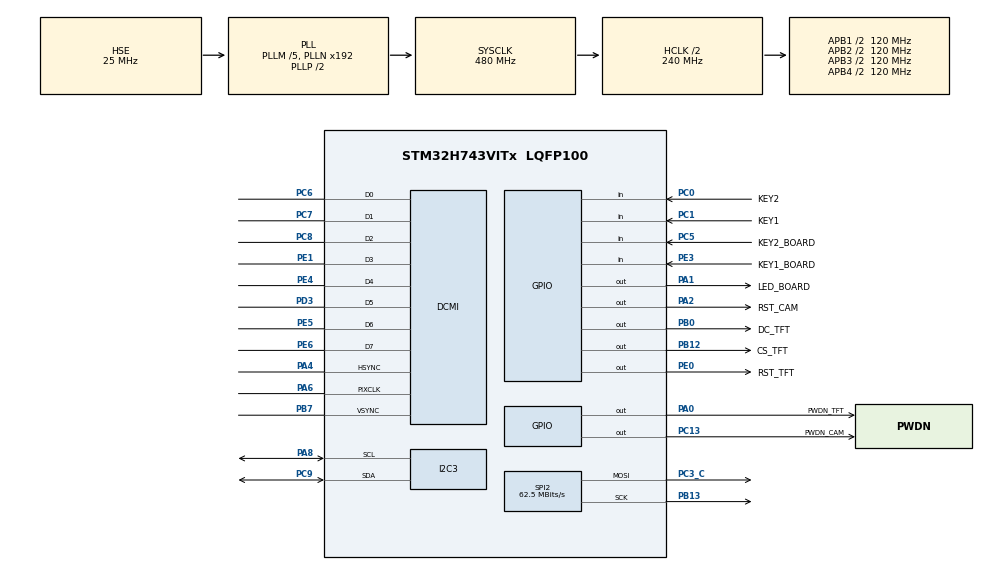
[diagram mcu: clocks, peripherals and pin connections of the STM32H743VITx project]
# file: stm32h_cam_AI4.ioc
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CORTEX_M7.CPU_DCache=Enabled
CORTEX_M7.CPU_ICache=Enabled
DCMI.JPEGMode=DCMI_JPEG_DISABLE
DCMI.PCKPolarity=DCMI_PCKPOLARITY_RISING
Dma.DCMI.1.Direction=DMA_PERIPH_TO_MEMORY
Dma.DCMI.1.EventEnable=DISABLE
Dma.DCMI.1.FIFOMode=DMA_FIFOMODE_ENABLE
Dma.DCMI.1.FIFOThreshold=DMA_FIFO_THRESHOLD_FULL
Dma.DCMI.1.Instance=DMA2_Stream1
Dma.DCMI.1.MemBurst=DMA_MBURST_SINGLE
Dma.DCMI.1.MemDataAlignment=DMA_MDATAALIGN_BYTE
Dma.DCMI.1.MemInc=DMA_MINC_ENABLE
Dma.DCMI.1.Mode=DMA_CIRCULAR
Dma.DCMI.1.PeriphBurst=DMA_PBURST_SINGLE
Dma.DCMI.1.PeriphDataAlignment=DMA_PDATAALIGN_WORD
Dma.DCMI.1.PeriphInc=DMA_PINC_DISABLE
Dma.DCMI.1.Polarity=HAL_DMAMUX_REQ_GEN_RISING
Dma.DCMI.1.Priority=DMA_PRIORITY_VERY_HIGH
Dma.DCMI.1.RequestNumber=1
Dma.DCMI.1.SignalID=NONE
Dma.DCMI.1.SyncEnable=DISABLE
Dma.DCMI.1.SyncPolarity=HAL_DMAMUX_SYNC_NO_EVENT
Dma.DCMI.1.SyncRequestNumber=1
Dma.DCMI.1.SyncSignalID=NONE
Dma.Request0=SPI2_TX
Dma.Request1=DCMI
Dma.SPI2_TX.0.Direction=DMA_MEMORY_TO_PERIPH
Dma.SPI2_TX.0.EventEnable=DISABLE
Dma.SPI2_TX.0.FIFOMode=DMA_FIFOMODE_DISABLE
Dma.SPI2_TX.0.Instance=DMA1_Stream7
Dma.SPI2_TX.0.MemDataAlignment=DMA_MDATAALIGN_BYTE
Dma.SPI2_TX.0.MemInc=DMA_MINC_ENABLE
Dma.SPI2_TX.0.Mode=DMA_NORMAL
Dma.SPI2_TX.0.PeriphDataAlignment=DMA_PDATAALIGN_BYTE
Dma.SPI2_TX.0.PeriphInc=DMA_PINC_DISABLE
Dma.SPI2_TX.0.Polarity=HAL_DMAMUX_REQ_GEN_RISING
Dma.SPI2_TX.0.Priority=DMA_PRIORITY_HIGH
Dma.SPI2_TX.0.RequestNumber=1
Dma.SPI2_TX.0.SignalID=NONE
Dma.SPI2_TX.0.SyncEnable=DISABLE
Dma.SPI2_TX.0.SyncPolarity=HAL_DMAMUX_SYNC_NO_EVENT
Dma.SPI2_TX.0.SyncRequestNumber=1
Dma.SPI2_TX.0.SyncSignalID=NONE
I2C3.Analog_Filter=I2C_ANALOGFILTER_ENABLE
I2C3.I2C_Coeff_DF=0
I2C3.I2C_Fall_Time=300
I2C3.I2C_Rise_Time=300
I2C3.Timing=0x70843A4F
Mcu.Family=STM32H7
Mcu.Name=STM32H743VITx
Mcu.Package=LQFP100
NVIC.DMA1_Stream7_IRQn=true\:0\:0\:false\:false\:true\:false\:true\:true
NVIC.DMA2_Stream1_IRQn=true\:0\:0\:false\:false\:true\:false\:true\:true
NVIC.PriorityGroup=NVIC_PRIORITYGROUP_4
NVIC.SPI2_IRQn=true\:0\:0\:false\:false\:true\:false\:true\:true
PA0.GPIO_Label=PWDN_TFT
PA0.GPIO_ModeDefaultOutputPP=GPIO_MODE_OUTPUT_OD
PA0.GPIO_PuPd=GPIO_PULLUP
PA0.PinState=GPIO_PIN_SET
PA0.Signal=GPIO_Output
PA1.GPIO_Label=LED_BOARD
PA1.Signal=GPIO_Output
PA13\ (JTMS/SWDIO).Mode=Serial_Wire
PA13\ (JTMS/SWDIO).Signal=DEBUG_JTMS-SWDIO
PA14\ (JTCK/SWCLK).Mode=Serial_Wire
PA14\ (JTCK/SWCLK).Signal=DEBUG_JTCK-SWCLK
PA2.GPIO_Label=RST_CAM
PA2.Signal=GPIO_Output
PA4.Mode=Slave_8_bits_External_Synchro
PA4.Signal=DCMI_HSYNC
PA6.Mode=Slave_8_bits_External_Synchro
PA6.Signal=DCMI_PIXCLK
PA8.Mode=I2C
PA8.Signal=I2C3_SCL
PB0.GPIO_Label=DC_TFT
PB0.GPIO_PuPd=GPIO_PULLUP
PB0.PinState=GPIO_PIN_SET
PB0.Signal=GPIO_Output
PB12.GPIO_Label=CS_TFT
PB12.GPIO_PuPd=GPIO_PULLUP
PB12.PinState=GPIO_PIN_SET
PB12.Signal=GPIO_Output
PB13.GPIO_Speed=GPIO_SPEED_FREQ_VERY_HIGH
PB13.Mode=TX_Only_Simplex_Unidirect_Master
PB13.Signal=SPI2_SCK
PB6.Signal=QUADSPI_BK1_NCS
PB7.Mode=Slave_8_bits_External_Synchro
PB7.Signal=DCMI_VSYNC
PC0.GPIO_Label=KEY2
PC0.Signal=GPIO_Input
PC1.GPIO_Label=KEY1
PC1.Signal=GPIO_Input
PC13.GPIO_Label=PWDN_CAM
PC13.PinState=GPIO_PIN_SET
PC13.Signal=GPIO_Output
PC14-OSC32_IN\ (OSC32_IN).Mode=LSE-External-Oscillator
PC14-OSC32_IN\ (OSC32_IN).Signal=RCC_OSC32_IN
PC15-OSC32_OUT\ (OSC32_OUT).Mode=LSE-External-Oscillator
PC15-OSC32_OUT\ (OSC32_OUT).Signal=RCC_OSC32_OUT
PC3_C.GPIO_Speed=GPIO_SPEED_FREQ_VERY_HIGH
PC3_C.Mode=TX_Only_Simplex_Unidirect_Master
PC3_C.Signal=SPI2_MOSI
PC5.GPIO_Label=KEY2_BOARD
PC5.Signal=GPIO_Input
PC6.Mode=Slave_8_bits_External_Synchro
PC6.Signal=DCMI_D0
PC7.Mode=Slave_8_bits_External_Synchro
PC7.Signal=DCMI_D1
PC8.Mode=Slave_8_bits_External_Synchro
PC8.Signal=DCMI_D2
PC9.Mode=I2C
PC9.Signal=I2C3_SDA
PD13.Signal=QUADSPI_BK1_IO3
PD3.Mode=Slave_8_bits_External_Synchro
PD3.Signal=DCMI_D5
PE0.GPIO_Label=RST_TFT
PE0.GPIO_PuPd=GPIO_PULLUP
PE0.PinState=GPIO_PIN_SET
PE0.Signal=GPIO_Output
PE1.Mode=Slave_8_bits_External_Synchro
PE1.Signal=DCMI_D3
PE3.GPIO_Label=KEY1_BOARD
PE3.Signal=GPIO_Input
PE4.Mode=Slave_8_bits_External_Synchro
PE4.Signal=DCMI_D4
PE5.Mode=Slave_8_bits_External_Synchro
PE5.Signal=DCMI_D6
PE6.Mode=Slave_8_bits_External_Synchro
PE6.Signal=DCMI_D7
PH0-OSC_IN\ (PH0).Mode=HSE-External-Oscillator
PH0-OSC_IN\ (PH0).Signal=RCC_OSC_IN
PH1-OSC_OUT\ (PH1).Mode=HSE-External-Oscillator
PH1-OSC_OUT\ (PH1).Signal=RCC_OSC_OUT
ProjectManager.HeapSize=0x800
ProjectManager.StackSize=0x1000
ProjectManager.TargetToolchain=STM32CubeIDE
RCC.ADCFreq_Value=125000000
RCC.APB1CLKDivider=RCC_HCLK_DIV4
RCC.APB1Freq_Value=120000000
RCC.APB2CLKDivider=RCC_HCLK_DIV2
RCC.APB2Freq_Value=120000000
RCC.APB3Freq_Value=120000000
RCC.APB4Freq_Value=120000000
RCC.CortexFreq_Value=480000000
RCC.D1PPRE=RCC_APB3_DIV2
RCC.D2PPRE1=RCC_APB1_DIV2
RCC.D2PPRE2=RCC_APB2_DIV2
RCC.D3PPRE=RCC_APB4_DIV2
RCC.DIVM1=5
RCC.DIVM2=4
RCC.DIVN1=192
RCC.DIVN2=100
RCC.DIVN3=480
RCC.DIVP2=5
RCC.DIVQ1=20
RCC.DIVQ3=8
RCC.FLatency=FLASH_LATENCY_4
RCC.HCLKFreq_Value=240000000
RCC.HPRE=RCC_HCLK_DIV2
RCC.HSE_VALUE=25000000
RCC.PLLFRACN=0
RCC.PLLM=25
RCC.PLLMUL=RCC_PLL_MUL9
RCC.PLLN=432
RCC.PLLQ=9
RCC.PLLSourceVirtual=RCC_PLLSOURCE_HSE
RCC.PRESCALERUSB=RCC_USBCLKSOURCE_PLL_DIV1_5
RCC.PWR_Regulator_Voltage_Scale=PWR_REGULATOR_VOLTAGE_SCALE0
RCC.ProductRev=revV
RCC.RTCClockSelection=RCC_RTCCLKSOURCE_LSE
RCC.SPI123CLockSelection=RCC_SPI123CLKSOURCE_PLL2
RCC.SYSCLKFreq_VALUE=480000000
RCC.SYSCLKSource=RCC_SYSCLKSOURCE_PLLCLK
RCC.SYSCLKSourceVirtual=RCC_SYSCLKSOURCE_PLLCLK
RCC.USBFreq_Value=48000000
SPI2.BaudRatePrescaler=SPI_BAUDRATEPRESCALER_2
SPI2.CalculateBaudRate=62.5 MBits/s
SPI2.DataSize=SPI_DATASIZE_8BIT
SPI2.Direction=SPI_DIRECTION_2LINES_TXONLY
SPI2.Mode=SPI_MODE_MASTER
SPI2.NSSPMode=SPI_NSS_PULSE_ENABLE
SPI2.VirtualType=VM_MASTER
STMicroelectronics.X-CUBE-AI.8.0.0.ActivationBufferSizeList=97516
STMicroelectronics.X-CUBE-AI.8.0.0.ActivationBuffers=pool0
STMicroelectronics.X-CUBE-AI.8.0.0.ActivationNames=pool0
STMicroelectronics.X-CUBE-AI.8.0.0.ActivationSizes=AI_NETWORK_DATA_ACTIVATION_1_SIZE
STMicroelectronics.X-CUBE-AI.8.0.0.ApplicationCcDeviceJjApplication=ApplicationTemplate
STMicroelectronics.X-CUBE-AI.8.0.0.HeapSize=0x800
STMicroelectronics.X-CUBE-AI.8.0.0.InternalRamActivationBufferMaxSize=AI_NETWORK_DATA_ACTIVATIONS_SIZE
STMicroelectronics.X-CUBE-AI.8.0.0.LatestDirectoryUsed-ed3556cf830fff80c20b2bba17ff285a2079428e074ef5eb4c2b63263d183088=/home/pavel/STM32CubeIDE/workspace_1.3.0/stm32h_cam_AI4/model
STMicroelectronics.X-CUBE-AI.8.0.0.MaximumNumberOfInputLayer=1
STMicroelectronics.X-CUBE-AI.8.0.0.MaximumNumberOfOutputLayer=1
STMicroelectronics.X-CUBE-AI.8.0.0.MaximumSizeOfInputLayer=1
STMicroelectronics.X-CUBE-AI.8.0.0.MaximumSizeOfOutputLayer=1
STMicroelectronics.X-CUBE-AI.8.0.0.ModelActualCompression-ed3556cf830fff80c20b2bba17ff285a2079428e074ef5eb4c2b63263d183088=0.0
STMicroelectronics.X-CUBE-AI.8.0.0.ModelCompression-ed3556cf830fff80c20b2bba17ff285a2079428e074ef5eb4c2b63263d183088=None
STMicroelectronics.X-CUBE-AI.8.0.0.ModelFlashOccupation-ed3556cf830fff80c20b2bba17ff285a2079428e074ef5eb4c2b63263d183088=1341276
STMicroelectronics.X-CUBE-AI.8.0.0.ModelHashList=ed3556cf830fff80c20b2bba17ff285a2079428e074ef5eb4c2b63263d183088
STMicroelectronics.X-CUBE-AI.8.0.0.ModelKind-ed3556cf830fff80c20b2bba17ff285a2079428e074ef5eb4c2b63263d183088=KERAS
STMicroelectronics.X-CUBE-AI.8.0.0.ModelMacc-ed3556cf830fff80c20b2bba17ff285a2079428e074ef5eb4c2b63263d183088=10044256
STMicroelectronics.X-CUBE-AI.8.0.0.ModelName-ed3556cf830fff80c20b2bba17ff285a2079428e074ef5eb4c2b63263d183088=network
STMicroelectronics.X-CUBE-AI.8.0.0.ModelNameList=network
STMicroelectronics.X-CUBE-AI.8.0.0.ModelRamOccupation-ed3556cf830fff80c20b2bba17ff285a2079428e074ef5eb4c2b63263d183088=97516
STMicroelectronics.X-CUBE-AI.8.0.0.ModelStructureFile-ed3556cf830fff80c20b2bba17ff285a2079428e074ef5eb4c2b63263d183088=model/MNIST_keras_CNN.h5
STMicroelectronics.X-CUBE-AI.8.0.0.ModelType-ed3556cf830fff80c20b2bba17ff285a2079428e074ef5eb4c2b63263d183088=Saved model
STMicroelectronics.X-CUBE-AI.8.0.0.ReadyForCodeGeneration=true
STMicroelectronics.X-CUBE-AI.8.0.0.StackSize=0x1000
STMicroelectronics.X-CUBE-AI.8.0.0.WorkingBufferStartAddrList=0xFFFFFFFF
STMicroelectronics.X-CUBE-AI.8.0.0.XAaCUBEAaAICcArtificialOoIntelligenceJjCore=true
STMicroelectronics.X-CUBE-AI.8.0.0.copyWeightToRam=false
STMicroelectronics.X-CUBE-AI.8.0.0.customLayerConfigEnabled=false
STMicroelectronics.X-CUBE-AI.8.0.0.useInputAllocation=true
STMicroelectronics.X-CUBE-AI.8.0.0.useOutputAllocation=true
VP_CRC_VS_CRC.Mode=CRC_Activate
VP_RTC_VS_RTC_Activate.Mode=RTC_Enabled
VP_STMicroelectronics.X-CUBE-AI_VS_ArtificialOoIntelligenceJjXAaCUBEAaAI_8.0.0.Mode=ArtificialOoIntelligenceJjXAaCUBEAaAI
VP_STMicroelectronics.X-CUBE-AI_VS_DeviceJjApplication_8.0.0.Mode=DeviceJjApplication
board=custom

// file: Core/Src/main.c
/* USER CODE BEGIN Header */
/**
  ******************************************************************************
  * @file           : main.c
  * @brief          : Main program body
  ******************************************************************************
  * @attention
  *
  * Copyright (c) 2022 STMicroelectronics.
  * All rights reserved.
  *
  * This software is licensed under terms that can be found in the LICENSE file
  * in the root directory of this software component.
  * If no LICENSE file comes with this software, it is provided AS-IS.
  *
  ******************************************************************************
  */
/* USER CODE END Header */
#include "main.h"
#include "app_x-cube-ai.h"

/* USER CODE BEGIN Includes */
#include "stdio.h"
#include "network.h"
#include "network_data.h"
#include "../Src/OV2640/ov2640.h"
#include "../Src/OV2640/ov2640_regs.h"
/* USER CODE END Includes */

CRC_HandleTypeDef hcrc;

DCMI_HandleTypeDef hdcmi;
DMA_HandleTypeDef hdma_dcmi;

I2C_HandleTypeDef hi2c3;

RTC_HandleTypeDef hrtc;

SPI_HandleTypeDef hspi2;
DMA_HandleTypeDef hdma_spi2_tx;

/* USER CODE BEGIN PV */
sensor_t sensor = {0}; // Структура камеры
// Определение фрейм буфера для камеры
// Организация буфера внутри дисплея. От верхнего левого угла по длинной стороне (т.е сначала запоняется верхняя длинная сторона)
#if defined RGB565_128X128
__attribute__((section(".frame_buffer")))int8_t imag[RGB565_128X128_BUF_SIZE] = {0};
#elif defined RGB565_160X160
__attribute__((section(".frame_buffer")))int8_t imag[RGB565_160X160_BUF_SIZE] = {0};
#elif defined RGB565_QVGA
__attribute__((section(".frame_buffer")))int8_t imag[RGB565_QVGA_BUF_SIZE] = {0};
#elif defined RGB565_VGA
__attribute__((section(".frame_buffer")))int8_t imag[RGB565_VGA_BUF_SIZE] = {0};
#endif

/* USER CODE END PV */

void SystemClock_Config(void);
static void MX_GPIO_Init(void);
static void MX_DCMI_Init(void);
static void MX_DMA_Init(void);
static void MX_SPI2_Init(void);
static void MX_I2C3_Init(void);
static void MX_RTC_Init(void);
static void MX_CRC_Init(void);
/* USER CODE BEGIN PFP */
static void sensor_setting(I2C_HandleTypeDef *camera_i2c);
/* USER CODE END PFP */

/* USER CODE BEGIN 0 */
static void init_AI(void);
static uint8_t run_AI(uint16_t *frameBuffer, bool avr);
static float input[28][28];// монохромная картинка 28х28
static float output[10];
static const char lable[10][11] = { "Number 0",
									"Number 1",
									"Number 2",
									"Number 3",
									"Number 4",
									"Number 5",
									"Number 6",
									"Number 7",
									"Number 8",
									"Number 9"};
// Инициализация нейросети
/* Global handle to reference the instantiated C-model */
static ai_handle network = AI_HANDLE_NULL;

/* Global c-array to handle the activations buffer */
AI_ALIGNED(32)
static ai_u8 activations[AI_NETWORK_DATA_ACTIVATIONS_SIZE];
/* Array of pointer to manage the model's input/output tensors */
static ai_buffer *ai_input;
static ai_buffer *ai_output;

void init_AI()
{
	  ai_error err;
	  char buf[200];
	  /* Create a local array with the addresses of the activations buffers */
	  const ai_handle act_addr[] = { activations };
	  /* Create an instance of the model */
	  err = ai_network_create_and_init(&network, act_addr, NULL);
	  if (err.type != AI_ERROR_NONE) {
		sprintf(buf,"Err create:%d",(int)err.code);
		ILI9341_DrawText(buf, FONT2, 220,1*hFONT2+1, BLACK, LIGHTGREY);
		} else ILI9341_DrawText("Create OK", FONT2, 220, 1*hFONT2+1, BLACK, LIGHTGREY);
	  /* Reteive pointers to the model's input/output tensors */
	   ai_input = ai_network_inputs_get(network, NULL);
	   ai_output = ai_network_outputs_get(network, NULL);

}
// Запуск нейросети
static uint8_t run_AI(uint16_t *frameBuffer, bool avr)
{
	char buf[200];
	float B,G,R;
// Подготовка данных для нейросети из изображения полученного от камеры.
// В буфере лежит картинка 160(строки) на 160(столбцы) по 2 байта на точку ПО СТРОЧНО!
// Нейросеть всасывает картинку 28х28 (верхний левый угол) с прореживанием или усреднением (флаг avr)!!
// Картинка переводится в градации серого!
	for(int i = 0; i < 28; i ++)  // Строки
	{
		for(int j = 0; j < 28; j ++) // Столбцы
		{
			if(avr){// усредняем матрицу точек 5х5
			B=0;G=0;R=0;
			for(int n = 0; n < 5; n ++) // Усреднение точек
			{
				for(int m = 0; m < 5; m ++)
				{
				uint16_t RGB_sample = frameBuffer[(i*160*5+n)+(j*5+m)]; // усреднение точек - матрица усреднения 5х5 по всей картинке 160х160
				B =B+(float)(RGB_sample & 0x1f) / 32.0;
				G =G+(float)((RGB_sample >> 6) & 0x1f) / 32.0;
				R =R+(float)(RGB_sample >> 11) / 32.0;
			//	B = B+ (float)(RGB_sample & 0x1f) / 128.0;
			//	G = G+ (float)((RGB_sample >> 5) & 0x3f) / 128.0;
			//	R = R+ (float)(RGB_sample >> 11) / 128.0;
				}
			}
			input[i][j]=(R + G + B)/(3.0*25.0);
		//	float pre_sum = (R + G + B)/(25.0);
		//	float sum = pre_sum < 0.3 ? (1-pre_sum) : 0.0;
		//	input[i][j] = (sum - 0.1307) / 0.3081;

			}
			else { // Без усреднения точек (просто берется каждая пятая точка)
				uint16_t RGB_sample = frameBuffer[(i*160*5)+(j*5)];     // берется каждая пятая точка из картинки 160х160
				B = (float)(RGB_sample & 0x1f) / 32.0;
				G = (float)((RGB_sample >> 6) & 0x1f) / 32.0;
				R = (float)(RGB_sample >> 11) / 32.0;
				input[i][j]=(R + G + B)/3.0;
			//	B = (float)(RGB_sample & 0x1f) / 128.0;
			//	G = (float)((RGB_sample >> 5) & 0x3f) / 128.0;
			//	R = (float)(RGB_sample >> 11) / 128.0;
			//	float pre_sum = (R + G + B);
     		//	float sum = pre_sum < 0.3 ? (1-pre_sum) : 0.0;
			//	input[i][j] = (sum - 0.1307) / 0.3081;
			}
		}
	}

	ai_error err;
	ai_i32 batch;
	  /* Update IO handlers with the data payload */
	  ai_input[0].data = AI_HANDLE_PTR(input);
	  ai_output[0].data = AI_HANDLE_PTR(output);

	  SCB_EnableDCache();
	  batch = ai_network_run(network, &ai_input[0], &ai_output[0]);
      SCB_DisableDCache();
	  if (batch != 1) {
	    err = ai_network_get_error(network);
	    sprintf(buf,"Err type:0x%x code:0x%x",(int)err.type,(int)err.code);
	   	ILI9341_DrawText(buf, FONT2, 220, 2*hFONT2+1, BLACK, LIGHTGREY);
	    } else ILI9341_DrawText("Run OK", FONT2, 220, 2*hFONT2+1, BLACK, LIGHTGREY);

	   // Поиск победителя
	    uint8_t res = 0;
	  	float max = output[0];
	  	for(int g = 1; g < 10; g++)
	  	{
	  		if(max < output[g])
	  		{
	  			res = g;
	  			max = output[g];
	  		}
	  	}
	  	return res;
}

/* USER CODE END 0 */

int main(void)
{
  /* USER CODE BEGIN 1 */
  char buf[64];
  /* USER CODE END 1 */

  /* Enable I-Cache---------------------------------------------------------*/
  SCB_EnableICache();

  /* Enable D-Cache---------------------------------------------------------*/
  SCB_EnableDCache();

  /* MCU Configuration--------------------------------------------------------*/

  /* Reset of all peripherals, Initializes the Flash interface and the Systick. */
  HAL_Init();

  /* Configure the system clock */
  SystemClock_Config();

  /* USER CODE BEGIN SysInit */
 // Не правильно сначала должно быть инициализация MX_DMA_Init(); потом   MX_DCMI_Init();
  MX_DMA_Init();
  MX_DCMI_Init();
  /* USER CODE END SysInit */

  /* Initialize all configured peripherals */
  MX_GPIO_Init();
  MX_DCMI_Init();
  MX_DMA_Init();
  MX_SPI2_Init();
  MX_I2C3_Init();
  MX_RTC_Init();
  MX_CRC_Init();
//  MX_X_CUBE_AI_Init();
  /* USER CODE BEGIN 2 */
  //  MX_X_CUBE_AI_Init(); НЕОБХОДИМО ЗАКОМЕНТИРОВАТЬ, нейросеть создается функцией  init_AI(); ниже по коду
   HAL_GPIO_WritePin(RST_CAM_GPIO_Port, RST_CAM_Pin, GPIO_PIN_SET);
   HAL_GPIO_WritePin(PWDN_CAM_GPIO_Port, PWDN_CAM_Pin, GPIO_PIN_RESET);
   sensor_setting(&hi2c3);

  ILI9341_Init();
//  HAL_GPIO_WritePin(LED_BOARD_GPIO_Port, LED_BOARD_Pin, GPIO_PIN_RESET); // Установить светодиод  1
  // Стартовый экран
  HAL_GPIO_WritePin(PWDN_TFT_GPIO_Port, PWDN_TFT_Pin, GPIO_PIN_RESET);     // Включить подсветку дисплея
  ILI9341_FillScreen(LIGHTGREY);
  ILI9341_SetRotation(SCREEN_HORIZONTAL_1);
  ILI9341_DrawRectangle(0,240-2*hFONT2,320-1, 2*hFONT2, WHITE); // Область в две строки для вывода инфы
  ILI9341_DrawHLine(0, 240-2*hFONT2, 320, RED);
  sprintf(buf,"Software: %s Hardware: %s",SOFTWARE, HARDWARE);
  ILI9341_DrawText(buf, FONT2, 130, 240-1*hFONT2+1, RED, WHITE);
  ILI9341_DrawText("Start", FONT2, 220,0*hFONT2+1, BLACK, LIGHTGREY);
  ILI9341_DrawText("Thinning 5x5 points  ", FONT2, 2, 240-2*hFONT2+1, BLACK, WHITE);

  uint32_t old_time, fps;
  bool pause=false;     // есть ли пауза
  bool key2WasUp=true;  // была ли кнопка отпущена?
  bool key2IsUp;        // текущее состояние кнопки
  bool avr=false;       // есть ли усреднение
  bool key1WasUp=true;  // была ли кнопка отпущена?
  bool key1IsUp;        // текущее состояние кнопки

  init_AI(); // Создание нейросети
  for(int j = 0; j < 10; j ++) // Названия классов на дисплей
	   {
	    ILI9341_DrawText(lable[j], FONT2,220, 70+j*hFONT2, BLACK, LIGHTGREY);
	    }
  ILI9341_DrawText("NMIST", FONT4, 220, 50, RED, LIGHTGREY);
  /* USER CODE END 2 */

  /* Infinite loop */
  /* USER CODE BEGIN WHILE */
  while (1)
  {
	  // Кнопка Select ставит процесс на паузу (тригерная кнопка)
	  key2IsUp=HAL_GPIO_ReadPin(KEY2_GPIO_Port, KEY2_Pin);
	  if (key2WasUp && !key2IsUp) {
		  key2IsUp=HAL_GPIO_ReadPin(KEY2_GPIO_Port, KEY2_Pin);
	      if (!key2IsUp) { pause=!pause; }
	  }
	  key2WasUp=key2IsUp;

	  // Кнопка Enter вывод рамки где работает нейросеть (тригерная кнопка)
	  key1IsUp=HAL_GPIO_ReadPin(KEY1_GPIO_Port, KEY1_Pin);
	  if (key1WasUp && !key1IsUp) {
		  key1IsUp=HAL_GPIO_ReadPin(KEY1_GPIO_Port, KEY1_Pin);
	      if (!key1IsUp) {
	    	  avr=! avr;
	    	  if (avr) ILI9341_DrawText("Averaging 5x5 points", FONT2, 2, 240-2*hFONT2+1, BLACK, WHITE);
	    	  else     ILI9341_DrawText("Thinning 5x5 points  ", FONT2, 2, 240-2*hFONT2+1, BLACK, WHITE);
	      }
	  }
	  key1WasUp=key1IsUp;

      if (!pause){ // если нет паузы
	         old_time=HAL_GetTick();
		     sensor.snapshot(hdcmi, (int32_t *)imag);
		     ILI9341_render160x160((uint16_t *)imag,30,35,160,160);
		     uint8_t number = run_AI((uint16_t*)imag, avr); // Запуск нейросети
		     fps=HAL_GetTick()-old_time;
		     sprintf(buf,"FPS=%d ",(int)(1000/fps));
		     ILI9341_DrawText(buf, FONT2, 2, 240-1*hFONT2+1, BLACK, WHITE);
		     ILI9341_DrawText(lable[number], FONT4, 80, 10, BLUE, LIGHTGREY);
		     for(int j = 0; j < 10; j ++)
		     {
		    	 sprintf(buf,"%.2f",output[j]);
		    	 ILI9341_DrawText(buf, FONT2,290, 70+j*hFONT2, BLACK, LIGHTGREY);
		     }

      }
     //  MX_X_CUBE_AI_Process(); НЕОБХОДИМО ЗАКОМЕНТИРОВАТЬ, нейросеть запускается кодом выше
    /* USER CODE END WHILE */

//  MX_X_CUBE_AI_Process();
  }
}

void SystemClock_Config(void)
{
  RCC_OscInitTypeDef RCC_OscInitStruct = {0};
  RCC_ClkInitTypeDef RCC_ClkInitStruct = {0};

  /** Supply configuration update enable
  */
  HAL_PWREx_ConfigSupply(PWR_LDO_SUPPLY);
  /** Configure the main internal regulator output voltage
  */
  __HAL_PWR_VOLTAGESCALING_CONFIG(PWR_REGULATOR_VOLTAGE_SCALE0);

  while(!__HAL_PWR_GET_FLAG(PWR_FLAG_VOSRDY)) {}
  /** Configure LSE Drive Capability
  */
  HAL_PWR_EnableBkUpAccess();
  __HAL_RCC_LSEDRIVE_CONFIG(RCC_LSEDRIVE_LOW);
  /** Macro to configure the PLL clock source
  */
  __HAL_RCC_PLL_PLLSOURCE_CONFIG(RCC_PLLSOURCE_HSE);
  /** Initializes the RCC Oscillators according to the specified parameters
  * in the RCC_OscInitTypeDef structure.
  */
  RCC_OscInitStruct.OscillatorType = RCC_OSCILLATORTYPE_HSE|RCC_OSCILLATORTYPE_LSE;
  RCC_OscInitStruct.HSEState = RCC_HSE_ON;
  RCC_OscInitStruct.LSEState = RCC_LSE_ON;
  RCC_OscInitStruct.PLL.PLLState = RCC_PLL_ON;
  RCC_OscInitStruct.PLL.PLLSource = RCC_PLLSOURCE_HSE;
  RCC_OscInitStruct.PLL.PLLM = 5;
  RCC_OscInitStruct.PLL.PLLN = 192;
  RCC_OscInitStruct.PLL.PLLP = 2;
  RCC_OscInitStruct.PLL.PLLQ = 20;
  RCC_OscInitStruct.PLL.PLLR = 2;
  RCC_OscInitStruct.PLL.PLLRGE = RCC_PLL1VCIRANGE_2;
  RCC_OscInitStruct.PLL.PLLVCOSEL = RCC_PLL1VCOWIDE;
  RCC_OscInitStruct.PLL.PLLFRACN = 0;
  if (HAL_RCC_OscConfig(&RCC_OscInitStruct) != HAL_OK)
  {
    Error_Handler();
  }
  /** Initializes the CPU, AHB and APB buses clocks
  */
  RCC_ClkInitStruct.ClockType = RCC_CLOCKTYPE_HCLK|RCC_CLOCKTYPE_SYSCLK
                              |RCC_CLOCKTYPE_PCLK1|RCC_CLOCKTYPE_PCLK2
                              |RCC_CLOCKTYPE_D3PCLK1|RCC_CLOCKTYPE_D1PCLK1;
  RCC_ClkInitStruct.SYSCLKSource = RCC_SYSCLKSOURCE_PLLCLK;
  RCC_ClkInitStruct.SYSCLKDivider = RCC_SYSCLK_DIV1;
  RCC_ClkInitStruct.AHBCLKDivider = RCC_HCLK_DIV2;
  RCC_ClkInitStruct.APB3CLKDivider = RCC_APB3_DIV2;
  RCC_ClkInitStruct.APB1CLKDivider = RCC_APB1_DIV2;
  RCC_ClkInitStruct.APB2CLKDivider = RCC_APB2_DIV2;
  RCC_ClkInitStruct.APB4CLKDivider = RCC_APB4_DIV2;

  if (HAL_RCC_ClockConfig(&RCC_ClkInitStruct, FLASH_LATENCY_4) != HAL_OK)
  {
    Error_Handler();
  }
}

static void MX_CRC_Init(void)
{

  hcrc.Instance = CRC;
  hcrc.Init.DefaultPolynomialUse = DEFAULT_POLYNOMIAL_ENABLE;
  hcrc.Init.DefaultInitValueUse = DEFAULT_INIT_VALUE_ENABLE;
  hcrc.Init.InputDataInversionMode = CRC_INPUTDATA_INVERSION_NONE;
  hcrc.Init.OutputDataInversionMode = CRC_OUTPUTDATA_INVERSION_DISABLE;
  hcrc.InputDataFormat = CRC_INPUTDATA_FORMAT_BYTES;
  if (HAL_CRC_Init(&hcrc) != HAL_OK)
  {
    Error_Handler();
  }

}

static void MX_DCMI_Init(void)
{

  hdcmi.Instance = DCMI;
  hdcmi.Init.SynchroMode = DCMI_SYNCHRO_HARDWARE;
  hdcmi.Init.PCKPolarity = DCMI_PCKPOLARITY_RISING;
  hdcmi.Init.VSPolarity = DCMI_VSPOLARITY_LOW;
  hdcmi.Init.HSPolarity = DCMI_HSPOLARITY_LOW;
  hdcmi.Init.CaptureRate = DCMI_CR_ALL_FRAME;
  hdcmi.Init.ExtendedDataMode = DCMI_EXTEND_DATA_8B;
  hdcmi.Init.JPEGMode = DCMI_JPEG_DISABLE;
  hdcmi.Init.ByteSelectMode = DCMI_BSM_ALL;
  hdcmi.Init.ByteSelectStart = DCMI_OEBS_ODD;
  hdcmi.Init.LineSelectMode = DCMI_LSM_ALL;
  hdcmi.Init.LineSelectStart = DCMI_OELS_ODD;
  if (HAL_DCMI_Init(&hdcmi) != HAL_OK)
  {
    Error_Handler();
  }

}

static void MX_I2C3_Init(void)
{

  hi2c3.Instance = I2C3;
  hi2c3.Init.Timing = 0x70843A4F;
  hi2c3.Init.OwnAddress1 = 0;
  hi2c3.Init.AddressingMode = I2C_ADDRESSINGMODE_7BIT;
  hi2c3.Init.DualAddressMode = I2C_DUALADDRESS_DISABLE;
  hi2c3.Init.OwnAddress2 = 0;
  hi2c3.Init.OwnAddress2Masks = I2C_OA2_NOMASK;
  hi2c3.Init.GeneralCallMode = I2C_GENERALCALL_DISABLE;
  hi2c3.Init.NoStretchMode = I2C_NOSTRETCH_DISABLE;
  if (HAL_I2C_Init(&hi2c3) != HAL_OK)
  {
    Error_Handler();
  }
  /** Configure Analogue filter
  */
  if (HAL_I2CEx_ConfigAnalogFilter(&hi2c3, I2C_ANALOGFILTER_ENABLE) != HAL_OK)
  {
    Error_Handler();
  }
  /** Configure Digital filter
  */
  if (HAL_I2CEx_ConfigDigitalFilter(&hi2c3, 0) != HAL_OK)
  {
    Error_Handler();
  }

}

static void MX_RTC_Init(void)
{

  /** Initialize RTC Only
  */
  hrtc.Instance = RTC;
  hrtc.Init.HourFormat = RTC_HOURFORMAT_24;
  hrtc.Init.AsynchPrediv = 127;
  hrtc.Init.SynchPrediv = 255;
  hrtc.Init.OutPut = RTC_OUTPUT_DISABLE;
  hrtc.Init.OutPutPolarity = RTC_OUTPUT_POLARITY_HIGH;
  hrtc.Init.OutPutType = RTC_OUTPUT_TYPE_OPENDRAIN;
  hrtc.Init.OutPutRemap = RTC_OUTPUT_REMAP_NONE;
  if (HAL_RTC_Init(&hrtc) != HAL_OK)
  {
    Error_Handler();
  }

}

static void MX_SPI2_Init(void)
{

  /* SPI2 parameter configuration*/
  hspi2.Instance = SPI2;
  hspi2.Init.Mode = SPI_MODE_MASTER;
  hspi2.Init.Direction = SPI_DIRECTION_2LINES_TXONLY;
  hspi2.Init.DataSize = SPI_DATASIZE_8BIT;
  hspi2.Init.CLKPolarity = SPI_POLARITY_LOW;
  hspi2.Init.CLKPhase = SPI_PHASE_1EDGE;
  hspi2.Init.NSS = SPI_NSS_SOFT;
  hspi2.Init.BaudRatePrescaler = SPI_BAUDRATEPRESCALER_2;
  hspi2.Init.FirstBit = SPI_FIRSTBIT_MSB;
  hspi2.Init.TIMode = SPI_TIMODE_DISABLE;
  hspi2.Init.CRCCalculation = SPI_CRCCALCULATION_DISABLE;
  hspi2.Init.CRCPolynomial = 0x0;
  hspi2.Init.NSSPMode = SPI_NSS_PULSE_ENABLE;
  hspi2.Init.NSSPolarity = SPI_NSS_POLARITY_LOW;
  hspi2.Init.FifoThreshold = SPI_FIFO_THRESHOLD_01DATA;
  hspi2.Init.TxCRCInitializationPattern = SPI_CRC_INITIALIZATION_ALL_ZERO_PATTERN;
  hspi2.Init.RxCRCInitializationPattern = SPI_CRC_INITIALIZATION_ALL_ZERO_PATTERN;
  hspi2.Init.MasterSSIdleness = SPI_MASTER_SS_IDLENESS_00CYCLE;
  hspi2.Init.MasterInterDataIdleness = SPI_MASTER_INTERDATA_IDLENESS_00CYCLE;
  hspi2.Init.MasterReceiverAutoSusp = SPI_MASTER_RX_AUTOSUSP_DISABLE;
  hspi2.Init.MasterKeepIOState = SPI_MASTER_KEEP_IO_STATE_DISABLE;
  hspi2.Init.IOSwap = SPI_IO_SWAP_DISABLE;
  if (HAL_SPI_Init(&hspi2) != HAL_OK)
  {
    Error_Handler();
  }

}

static void MX_DMA_Init(void)
{

  /* DMA controller clock enable */
  __HAL_RCC_DMA1_CLK_ENABLE();
  __HAL_RCC_DMA2_CLK_ENABLE();

  /* DMA interrupt init */
  /* DMA1_Stream7_IRQn interrupt configuration */
  HAL_NVIC_SetPriority(DMA1_Stream7_IRQn, 0, 0);
  HAL_NVIC_EnableIRQ(DMA1_Stream7_IRQn);
  /* DMA2_Stream1_IRQn interrupt configuration */
  HAL_NVIC_SetPriority(DMA2_Stream1_IRQn, 0, 0);
  HAL_NVIC_EnableIRQ(DMA2_Stream1_IRQn);

}

static void MX_GPIO_Init(void)
{
  GPIO_InitTypeDef GPIO_InitStruct = {0};

  /* GPIO Ports Clock Enable */
  __HAL_RCC_GPIOE_CLK_ENABLE();
  __HAL_RCC_GPIOC_CLK_ENABLE();
  __HAL_RCC_GPIOH_CLK_ENABLE();
  __HAL_RCC_GPIOA_CLK_ENABLE();
  __HAL_RCC_GPIOB_CLK_ENABLE();
  __HAL_RCC_GPIOD_CLK_ENABLE();

  /*Configure GPIO pin Output Level */
  HAL_GPIO_WritePin(PWDN_CAM_GPIO_Port, PWDN_CAM_Pin, GPIO_PIN_SET);

  /*Configure GPIO pin Output Level */
  HAL_GPIO_WritePin(PWDN_TFT_GPIO_Port, PWDN_TFT_Pin, GPIO_PIN_SET);

  /*Configure GPIO pin Output Level */
  HAL_GPIO_WritePin(GPIOA, LED_BOARD_Pin|RST_CAM_Pin, GPIO_PIN_RESET);

  /*Configure GPIO pin Output Level */
  HAL_GPIO_WritePin(GPIOB, DC_TFT_Pin|CS_TFT_Pin, GPIO_PIN_SET);

  /*Configure GPIO pin Output Level */
  HAL_GPIO_WritePin(RST_TFT_GPIO_Port, RST_TFT_Pin, GPIO_PIN_SET);

  /*Configure GPIO pin : KEY1_BOARD_Pin */
  GPIO_InitStruct.Pin = KEY1_BOARD_Pin;
  GPIO_InitStruct.Mode = GPIO_MODE_INPUT;
  GPIO_InitStruct.Pull = GPIO_NOPULL;
  HAL_GPIO_Init(KEY1_BOARD_GPIO_Port, &GPIO_InitStruct);

  /*Configure GPIO pin : PWDN_CAM_Pin */
  GPIO_InitStruct.Pin = PWDN_CAM_Pin;
  GPIO_InitStruct.Mode = GPIO_MODE_OUTPUT_PP;
  GPIO_InitStruct.Pull = GPIO_NOPULL;
  GPIO_InitStruct.Speed = GPIO_SPEED_FREQ_LOW;
  HAL_GPIO_Init(PWDN_CAM_GPIO_Port, &GPIO_InitStruct);

  /*Configure GPIO pins : KEY2_Pin KEY1_Pin KEY2_BOARD_Pin */
  GPIO_InitStruct.Pin = KEY2_Pin|KEY1_Pin|KEY2_BOARD_Pin;
  GPIO_InitStruct.Mode = GPIO_MODE_INPUT;
  GPIO_InitStruct.Pull = GPIO_NOPULL;
  HAL_GPIO_Init(GPIOC, &GPIO_InitStruct);

  /*Configure GPIO pin : PWDN_TFT_Pin */
  GPIO_InitStruct.Pin = PWDN_TFT_Pin;
  GPIO_InitStruct.Mode = GPIO_MODE_OUTPUT_OD;
  GPIO_InitStruct.Pull = GPIO_PULLUP;
  GPIO_InitStruct.Speed = GPIO_SPEED_FREQ_LOW;
  HAL_GPIO_Init(PWDN_TFT_GPIO_Port, &GPIO_InitStruct);

  /*Configure GPIO pins : LED_BOARD_Pin RST_CAM_Pin */
  GPIO_InitStruct.Pin = LED_BOARD_Pin|RST_CAM_Pin;
  GPIO_InitStruct.Mode = GPIO_MODE_OUTPUT_PP;
  GPIO_InitStruct.Pull = GPIO_NOPULL;
  GPIO_InitStruct.Speed = GPIO_SPEED_FREQ_LOW;
  HAL_GPIO_Init(GPIOA, &GPIO_InitStruct);

  /*Configure GPIO pins : DC_TFT_Pin CS_TFT_Pin */
  GPIO_InitStruct.Pin = DC_TFT_Pin|CS_TFT_Pin;
  GPIO_InitStruct.Mode = GPIO_MODE_OUTPUT_PP;
  GPIO_InitStruct.Pull = GPIO_PULLUP;
  GPIO_InitStruct.Speed = GPIO_SPEED_FREQ_LOW;
  HAL_GPIO_Init(GPIOB, &GPIO_InitStruct);

  /*Configure GPIO pin : PD13 */
  GPIO_InitStruct.Pin = GPIO_PIN_13;
  GPIO_InitStruct.Mode = GPIO_MODE_AF_PP;
  GPIO_InitStruct.Pull = GPIO_NOPULL;
  GPIO_InitStruct.Speed = GPIO_SPEED_FREQ_LOW;
  GPIO_InitStruct.Alternate = GPIO_AF9_QUADSPI;
  HAL_GPIO_Init(GPIOD, &GPIO_InitStruct);

  /*Configure GPIO pin : PB6 */
  GPIO_InitStruct.Pin = GPIO_PIN_6;
  GPIO_InitStruct.Mode = GPIO_MODE_AF_PP;
  GPIO_InitStruct.Pull = GPIO_NOPULL;
  GPIO_InitStruct.Speed = GPIO_SPEED_FREQ_LOW;
  GPIO_InitStruct.Alternate = GPIO_AF10_QUADSPI;
  HAL_GPIO_Init(GPIOB, &GPIO_InitStruct);

  /*Configure GPIO pin : RST_TFT_Pin */
  GPIO_InitStruct.Pin = RST_TFT_Pin;
  GPIO_InitStruct.Mode = GPIO_MODE_OUTPUT_PP;
  GPIO_InitStruct.Pull = GPIO_PULLUP;
  GPIO_InitStruct.Speed = GPIO_SPEED_FREQ_LOW;
  HAL_GPIO_Init(RST_TFT_GPIO_Port, &GPIO_InitStruct);

}

/* USER CODE BEGIN 4 */
static void sensor_setting(I2C_HandleTypeDef *camera_i2c)
{
	  sensor.bus.i2c = camera_i2c;
	  ov2640_init(&sensor);

	  sensor.write_reg(&sensor, BANK_SEL, 0x01);
	  if(sensor.read_reg(&sensor, REG_PID) != sensor.pid)
	  {
		  Error_Handler();
	  }
	  if(sensor.read_reg(&sensor, REG_VER) != sensor.rev)
	  {
		  Error_Handler();
	  }

	  sensor.pixformat = PIXFORMAT_RGB565;
	#if defined RGB565_128X128
	  sensor.framesize = FRAMESIZE_128X128;
	#elif defined RGB565_160X160
	  sensor.framesize = FRAMESIZE_160X160;
	#elif defined RGB565_QVGA
	sensor.framesize = FRAMESIZE_QVGA;
	#elif defined RGB565_VGA
	sensor.framesize = FRAMESIZE_VGA;
	#endif

	  sensor.contrast_level = 1;   // 2
	  sensor.brightness_level = 2; // 2
	  sensor.saturation_level = 2; // 2

	  if(sensor.reset(&sensor) == -1)
	  {
		  Error_Handler();
	  }
	  if(sensor.set(&sensor) == -1)
	  {
		  Error_Handler();
	  }
}

/* USER CODE END 4 */

void Error_Handler(void)
{
  __disable_irq();
  while (1)
  {
  }
}
